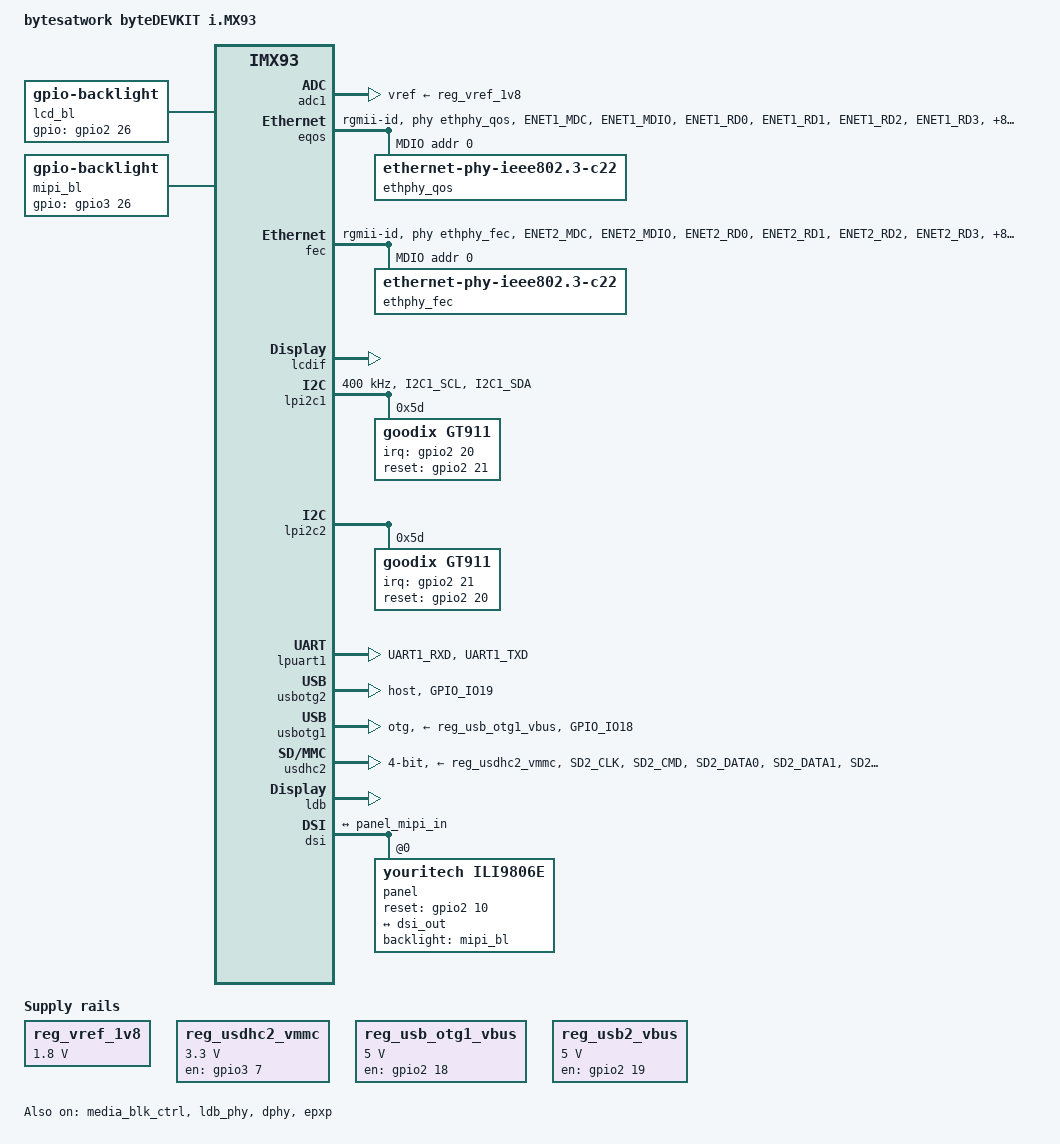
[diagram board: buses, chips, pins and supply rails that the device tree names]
// SPDX-License-Identifier: (GPL-2.0+ OR MIT)
/*
 * Copyright 2024 bytesatwork AG
 */

/dts-v1/;

#include <dt-bindings/net/ti-dp83867.h>
#include "imx93-byteengine.dtsi"

/ {
	model = "bytesatwork byteDEVKIT i.MX93";
	compatible = "bytesatwork,bytedevkit", "fsl,imx93";

	chosen {
		stdout-path = &lpuart1;
	};

	reg_vref_1v8: regulator-adc-vref {
		compatible = "regulator-fixed";
		regulator-name = "vref_1v8";
		regulator-min-microvolt = <1800000>;
		regulator-max-microvolt = <1800000>;
	};

	reg_usdhc2_vmmc: regulator-usdhc2 {
		compatible = "regulator-fixed";
		pinctrl-names = "default";
		pinctrl-0 = <&pinctrl_reg_usdhc2_vmmc>;
		regulator-name = "VSD_3V3";
		regulator-min-microvolt = <3300000>;
		regulator-max-microvolt = <3300000>;
		gpio = <&gpio3 7 GPIO_ACTIVE_HIGH>;
		off-on-delay-us = <12000>;
		enable-active-high;
	};

	reg_usb_otg1_vbus: regulator-otg {
		compatible = "regulator-fixed";
		regulator-name = "USB1_VBUS";
		regulator-min-microvolt = <5000000>;
		regulator-max-microvolt = <5000000>;
		gpio = <&gpio2 18 GPIO_ACTIVE_HIGH>;
		enable-active-high;
	};

	reg_usb2_vbus: regulator-vbus {
		compatible = "regulator-fixed";
		regulator-name = "USB2_VBUS";
		regulator-min-microvolt = <5000000>;
		regulator-max-microvolt = <5000000>;
		gpio = <&gpio2 19 GPIO_ACTIVE_HIGH>;
		enable-active-high;
		regulator-always-on;
	};

	lvds_panel {
		compatible = "panel-lvds";
		status = "disabled";
		backlight = <&lcd_bl>;
		data-mapping = "vesa-24";
		width-mm = <108>;
		height-mm = <65>;
		panel-timing {
			clock-frequency = <25000000>;
			hactive = <800>;
			vactive = <480>;
			hback-porch = <8>;
			hfront-porch = <8>;
			vback-porch = <8>;
			vfront-porch = <8>;
			hsync-len = <4>;
			vsync-len = <4>;
		};

		port {
			panel_in: endpoint {
				remote-endpoint = <&lvds_out>;
			};
		};
	};

	lcd_bl: backlight1 {
		pinctrl-names = "default";
		pinctrl-0 = <&pinctrl_lvds_backlight>;
		compatible = "gpio-backlight";
		gpios = <&gpio2 26 GPIO_ACTIVE_HIGH>;
		default-on;
	};

	mipi_bl: backlight2 {
		pinctrl-names = "default";
		pinctrl-0 = <&pinctrl_mipi_blacklight>;
		compatible = "gpio-backlight";
		gpios = <&gpio3 26 GPIO_ACTIVE_HIGH>;
		default-on;
	};
};

&adc1 {
	vref-supply = <&reg_vref_1v8>;
	status = "okay";
};

&eqos {
	pinctrl-names = "default", "sleep";
	pinctrl-0 = <&pinctrl_eqos>;
	pinctrl-1 = <&pinctrl_eqos_sleep>;
	phy-mode = "rgmii-id";
	phy-handle = <&ethphy_qos>;
	status = "okay";
	local-mac-address = [00 0a 35 00 00 01];

	mdio {
		compatible = "snps,dwmac-mdio";
		#address-cells = <1>;
		#size-cells = <0>;
		clock-frequency = <5000000>;

		ethphy_qos: ethernet-phyqos@0 {
			compatible = "ethernet-phy-ieee802.3-c22";
			reg = <0>;
			enet-phy-lane-no-swap;
			ti,rx-internal-delay = <DP83867_RGMIIDCTL_2_25_NS>;
			ti,tx-internal-delay = <DP83867_RGMIIDCTL_2_25_NS>;
			ti,fifo-depth = <DP83867_PHYCR_FIFO_DEPTH_4_B_NIB>;
			ti,dp83867-rxctrl-strap-quirk;
			ti,clk-output-sel = <DP83867_CLK_O_SEL_OFF>;
		};

	};
};

&fec {
	pinctrl-names = "default", "sleep";
	pinctrl-0 = <&pinctrl_fec>;
	pinctrl-1 = <&pinctrl_fec_sleep>;
	phy-mode = "rgmii-id";
	phy-handle = <&ethphy_fec>;
	fsl,magic-packet;
	status = "okay";

	mdio {
		#address-cells = <1>;
		#size-cells = <0>;
		clock-frequency = <5000000>;

		ethphy_fec: ethernet-phyfec@0 {
			compatible = "ethernet-phy-ieee802.3-c22";
			reg = <0>;
			pinctrl-names = "default";
			enet-phy-lane-no-swap;
			ti,rx-internal-delay = <DP83867_RGMIIDCTL_2_25_NS>;
			ti,tx-internal-delay = <DP83867_RGMIIDCTL_2_25_NS>;
			ti,fifo-depth = <DP83867_PHYCR_FIFO_DEPTH_4_B_NIB>;
			ti,dp83867-rxctrl-strap-quirk;
			ti,clk-output-sel = <DP83867_CLK_O_SEL_OFF>;
		};
	};
};

&lcdif {
	status = "okay";
	assigned-clock-rates = <484000000>, <121000000>, <400000000>, <133333333>;
};

&lpi2c1 {
	#address-cells = <1>;
	#size-cells = <0>;
	clock-frequency = <400000>;
	pinctrl-names = "default", "sleep";
	pinctrl-0 = <&pinctrl_lpi2c1>;
	pinctrl-1 = <&pinctrl_lpi2c1>;
	status = "okay";

	/* LVDS Touch */
	gt911@5d {
		pinctrl-names = "default";
		pinctrl-0 = <&pinctrl_lvds_touch>;
		compatible = "goodix,gt911";
		reg = <0x5d>;
		interrupt-parent = <&gpio2>;
		interrupts = <20 0>;
		irq-gpios = <&gpio2 20 0>;
		reset-gpios = <&gpio2 21 0>;
		touchscreen-inverted-x;
		touchscreen-inverted-y;
	};

};

&lpi2c2 {
	/* Mipi Touch */
	gt911@5d {
		pinctrl-names = "default";
		pinctrl-0 = <&pinctrl_mipi_touch>;
		compatible = "goodix,gt911";
		reg = <0x5d>;
		interrupt-parent = <&gpio2>;
		interrupts = <21 0>;
		irq-gpios = <&gpio2 21 0>;
		reset-gpios = <&gpio2 20 0>;
	};
};

&lpuart1 { /* console */
	pinctrl-names = "default";
	pinctrl-0 = <&pinctrl_uart1>;
	status = "okay";
};

&media_blk_ctrl {
	status = "okay";
};

&usbotg2 {
	pinctrl-names = "default";
	pinctrl-0 = <&pinctrl_usb2>;
	dr_mode = "host";
	status = "okay";

};

&usbotg1 {
	pinctrl-names = "default";
	pinctrl-0 = <&pinctrl_usb1>;
	dr_mode = "otg";
	vbus-supply = <&reg_usb_otg1_vbus>;
	status = "okay";
};

&usdhc2 {
	pinctrl-names = "default", "state_100mhz", "state_200mhz", "sleep";
	pinctrl-0 = <&pinctrl_usdhc2>, <&pinctrl_usdhc2_gpio>;
	pinctrl-1 = <&pinctrl_usdhc2_100mhz>, <&pinctrl_usdhc2_gpio>;
	pinctrl-2 = <&pinctrl_usdhc2_200mhz>, <&pinctrl_usdhc2_gpio>;
	pinctrl-3 = <&pinctrl_usdhc2_sleep>, <&pinctrl_usdhc2_gpio_sleep>;
	cd-gpios = <&gpio3 00 GPIO_ACTIVE_LOW>;
	fsl,cd-gpio-wakeup-disable;
	vmmc-supply = <&reg_usdhc2_vmmc>;
	bus-width = <4>;
	status = "okay";
	no-sdio;
	no-mmc;
};

&ldb {
	status = "okay";

	lvds-channel@0 {
		fsl,data-mapping = "spwg";
		fsl,data-width = <24>;
		status = "okay";

		port@1 {
			reg = <1>;

			lvds_out: endpoint {
				remote-endpoint = <&panel_in>;
			};
		};
	};
};

&ldb_phy {
	status = "okay";
};

&dphy {
	status = "okay";
};

&dsi {
	#address-cells = <1>;
	#size-cells = <0>;
	status = "okay";

	panel@0 {
		compatible = "youritech,ili9806e";
		reg = <0>;
		backlight = <&mipi_bl>;
		reset-gpio = <&gpio2 10 GPIO_ACTIVE_HIGH>;
		dsi-lanes = <2>;
		video-mode = <2>;	/* 0: burst mode
					 * 1: non-burst mode with sync event
					 * 2: non-burst mode with sync pulse
					 */
		width-mm = <68>;
		height-mm = <121>;
		status = "okay";

		port {
			panel_mipi_in: endpoint {
				remote-endpoint = <&dsi_out>;
			};
		};
	};

	ports {
		port@1 {
			reg = <1>;

			dsi_out: endpoint {
				remote-endpoint = <&panel_mipi_in>;
			};
		};
	};
};

&iomuxc {
	pinctrl_eqos: eqosgrp {
		fsl,pins = <
			MX93_PAD_ENET1_MDC__ENET_QOS_MDC			0x57e
			MX93_PAD_ENET1_MDIO__ENET_QOS_MDIO			0x57e
			MX93_PAD_ENET1_RD0__ENET_QOS_RGMII_RD0			0x57e
			MX93_PAD_ENET1_RD1__ENET_QOS_RGMII_RD1			0x57e
			MX93_PAD_ENET1_RD2__ENET_QOS_RGMII_RD2			0x57e
			MX93_PAD_ENET1_RD3__ENET_QOS_RGMII_RD3			0x57e
			MX93_PAD_ENET1_RXC__CCM_ENET_QOS_CLOCK_GENERATE_RX_CLK	0x5fe
			MX93_PAD_ENET1_RX_CTL__ENET_QOS_RGMII_RX_CTL		0x57e
			MX93_PAD_ENET1_TD0__ENET_QOS_RGMII_TD0			0x57e
			MX93_PAD_ENET1_TD1__ENET_QOS_RGMII_TD1			0x57e
			MX93_PAD_ENET1_TD2__ENET_QOS_RGMII_TD2			0x57e
			MX93_PAD_ENET1_TD3__ENET_QOS_RGMII_TD3			0x57e
			MX93_PAD_ENET1_TXC__CCM_ENET_QOS_CLOCK_GENERATE_TX_CLK	0x5fe
			MX93_PAD_ENET1_TX_CTL__ENET_QOS_RGMII_TX_CTL		0x57e
		>;
	};

	pinctrl_eqos_sleep: eqosgrpsleep {
		fsl,pins = <
			MX93_PAD_ENET1_MDC__GPIO4_IO00			0x31e
			MX93_PAD_ENET1_MDIO__GPIO4_IO01			0x31e
			MX93_PAD_ENET1_RD0__GPIO4_IO10			0x31e
			MX93_PAD_ENET1_RD1__GPIO4_IO11			0x31e
			MX93_PAD_ENET1_RD2__GPIO4_IO12			0x31e
			MX93_PAD_ENET1_RD3__GPIO4_IO13			0x31e
			MX93_PAD_ENET1_RXC__GPIO4_IO09			0x31e
			MX93_PAD_ENET1_RX_CTL__GPIO4_IO08		0x31e
			MX93_PAD_ENET1_TD0__GPIO4_IO05			0x31e
			MX93_PAD_ENET1_TD1__GPIO4_IO04			0x31e
			MX93_PAD_ENET1_TD2__GPIO4_IO03			0x31e
			MX93_PAD_ENET1_TD3__GPIO4_IO02			0x31e
			MX93_PAD_ENET1_TXC__GPIO4_IO07			0x31e
			MX93_PAD_ENET1_TX_CTL__GPIO4_IO06		0x31e
		>;
	};

	pinctrl_fec: fecgrp {
		fsl,pins = <
			MX93_PAD_ENET2_MDC__ENET1_MDC			0x57e
			MX93_PAD_ENET2_MDIO__ENET1_MDIO			0x57e
			MX93_PAD_ENET2_RD0__ENET1_RGMII_RD0		0x57e
			MX93_PAD_ENET2_RD1__ENET1_RGMII_RD1		0x57e
			MX93_PAD_ENET2_RD2__ENET1_RGMII_RD2		0x57e
			MX93_PAD_ENET2_RD3__ENET1_RGMII_RD3		0x57e
			MX93_PAD_ENET2_RXC__ENET1_RGMII_RXC		0x5fe
			MX93_PAD_ENET2_RX_CTL__ENET1_RGMII_RX_CTL	0x57e
			MX93_PAD_ENET2_TD0__ENET1_RGMII_TD0		0x57e
			MX93_PAD_ENET2_TD1__ENET1_RGMII_TD1		0x57e
			MX93_PAD_ENET2_TD2__ENET1_RGMII_TD2		0x57e
			MX93_PAD_ENET2_TD3__ENET1_RGMII_TD3		0x57e
			MX93_PAD_ENET2_TXC__ENET1_RGMII_TXC		0x5fe
			MX93_PAD_ENET2_TX_CTL__ENET1_RGMII_TX_CTL	0x57e
		>;
	};

	pinctrl_fec_sleep: fecsleepgrp {
		fsl,pins = <
			MX93_PAD_ENET2_MDC__GPIO4_IO14			0x51e
			MX93_PAD_ENET2_MDIO__GPIO4_IO15			0x51e
			MX93_PAD_ENET2_RD0__GPIO4_IO24			0x51e
			MX93_PAD_ENET2_RD1__GPIO4_IO25			0x51e
			MX93_PAD_ENET2_RD2__GPIO4_IO26			0x51e
			MX93_PAD_ENET2_RD3__GPIO4_IO27			0x51e
			MX93_PAD_ENET2_RXC__GPIO4_IO23			0x51e
			MX93_PAD_ENET2_RX_CTL__GPIO4_IO22		0x51e
			MX93_PAD_ENET2_TD0__GPIO4_IO19			0x51e
			MX93_PAD_ENET2_TD1__GPIO4_IO18			0x51e
			MX93_PAD_ENET2_TD2__GPIO4_IO17			0x51e
			MX93_PAD_ENET2_TD3__GPIO4_IO16			0x51e
			MX93_PAD_ENET2_TXC__GPIO4_IO21			0x51e
			MX93_PAD_ENET2_TX_CTL__GPIO4_IO20		0x51e
		>;
	};

	pinctrl_lpi2c1: lpi2c1grp {
		fsl,pins = <
			MX93_PAD_I2C1_SCL__LPI2C1_SCL		0x40000b9e
			MX93_PAD_I2C1_SDA__LPI2C1_SDA		0x40000b9e
		>;
	};

	pinctrl_uart1: uart1grp {
		fsl,pins = <
			MX93_PAD_UART1_RXD__LPUART1_RX		0x31e
			MX93_PAD_UART1_TXD__LPUART1_TX		0x31e
		>;
	};

	pinctrl_reg_usdhc2_vmmc: regusdhc2vmmcgrp {
		fsl,pins = <
			MX93_PAD_SD2_RESET_B__GPIO3_IO07	0x31e
		>;
	};

	pinctrl_usdhc2_gpio: usdhc2gpiogrp {
		fsl,pins = <
			MX93_PAD_SD2_CD_B__GPIO3_IO00		0x31e
		>;
	};

	pinctrl_usdhc2_gpio_sleep: usdhc2gpiogrpsleep {
		fsl,pins = <
			MX93_PAD_SD2_CD_B__GPIO3_IO00		0x51e
		>;
	};

	/* need to config the SION for data and cmd pad, refer to ERR052021 */
	pinctrl_usdhc2: usdhc2grp {
		fsl,pins = <
			MX93_PAD_SD2_CLK__USDHC2_CLK		0x1582
			MX93_PAD_SD2_CMD__USDHC2_CMD		0x40001382
			MX93_PAD_SD2_DATA0__USDHC2_DATA0	0x40001382
			MX93_PAD_SD2_DATA1__USDHC2_DATA1	0x40001382
			MX93_PAD_SD2_DATA2__USDHC2_DATA2	0x40001382
			MX93_PAD_SD2_DATA3__USDHC2_DATA3	0x40001382
			MX93_PAD_SD2_VSELECT__USDHC2_VSELECT	0x51e
		>;
	};

	/* need to config the SION for data and cmd pad, refer to ERR052021 */
	pinctrl_usdhc2_100mhz: usdhc2-100mhzgrp {
		fsl,pins = <
			MX93_PAD_SD2_CLK__USDHC2_CLK		0x158e
			MX93_PAD_SD2_CMD__USDHC2_CMD		0x4000138e
			MX93_PAD_SD2_DATA0__USDHC2_DATA0	0x4000138e
			MX93_PAD_SD2_DATA1__USDHC2_DATA1	0x4000138e
			MX93_PAD_SD2_DATA2__USDHC2_DATA2	0x4000138e
			MX93_PAD_SD2_DATA3__USDHC2_DATA3	0x4000138e
			MX93_PAD_SD2_VSELECT__USDHC2_VSELECT	0x51e
		>;
	};

	/* need to config the SION for data and cmd pad, refer to ERR052021 */
	pinctrl_usdhc2_200mhz: usdhc2-200mhzgrp {
		fsl,pins = <
			MX93_PAD_SD2_CLK__USDHC2_CLK		0x15fe
			MX93_PAD_SD2_CMD__USDHC2_CMD		0x400013fe
			MX93_PAD_SD2_DATA0__USDHC2_DATA0	0x400013fe
			MX93_PAD_SD2_DATA1__USDHC2_DATA1	0x400013fe
			MX93_PAD_SD2_DATA2__USDHC2_DATA2	0x400013fe
			MX93_PAD_SD2_DATA3__USDHC2_DATA3	0x400013fe
			MX93_PAD_SD2_VSELECT__USDHC2_VSELECT	0x51e
		>;
	};

	pinctrl_usdhc2_sleep: usdhc2grpsleep {
		fsl,pins = <
			MX93_PAD_SD2_CLK__GPIO3_IO01		0x51e
			MX93_PAD_SD2_CMD__GPIO3_IO02		0x51e
			MX93_PAD_SD2_DATA0__GPIO3_IO03		0x51e
			MX93_PAD_SD2_DATA1__GPIO3_IO04		0x51e
			MX93_PAD_SD2_DATA2__GPIO3_IO05		0x51e
			MX93_PAD_SD2_DATA3__GPIO3_IO06		0x51e
			MX93_PAD_SD2_VSELECT__GPIO3_IO19	0x51e
		>;
	};

	pinctrl_usb1: usb1_grp {
		fsl,pins = <
			MX93_PAD_GPIO_IO18__GPIO2_IO18		0x31e
		>;
	};

	pinctrl_usb2: usb2_grp {
		fsl,pins = <
			MX93_PAD_GPIO_IO19__GPIO2_IO19		0x31e
		>;
	};

	pinctrl_lvds_backlight: lvds_backlight_grp {
		fsl,pins = <
			MX93_PAD_GPIO_IO26__GPIO2_IO26		0x31e	/* LVDS Backlight */
		>;
	};

	pinctrl_lvds_touch: lvds_touch_grp {
		fsl,pins = <
			MX93_PAD_GPIO_IO20__GPIO2_IO20		0x31e	/* LVDS Touch INT */
			MX93_PAD_GPIO_IO21__GPIO2_IO21		0x31e	/* LVDS Touch RST */
		>;
	};

	pinctrl_mipi_touch: mipi_touch_grp {
		fsl,pins = <
			MX93_PAD_GPIO_IO21__GPIO2_IO21		0x31e	/* MIPI Touch INT */
			MX93_PAD_GPIO_IO20__GPIO2_IO20		0x31e	/* MIPI Touch RST */
		>;
	};

	pinctrl_mipi_blacklight: mipi_bl_grp {
		fsl,pins = <
			MX93_PAD_CCM_CLKO1__GPIO3_IO26		0x31e	/* MIPI Backlight */
			MX93_PAD_GPIO_IO10__GPIO2_IO10		0x31e	/* MIPI Reset */
		>;
	};
};

&epxp {
	status = "okay";
};
